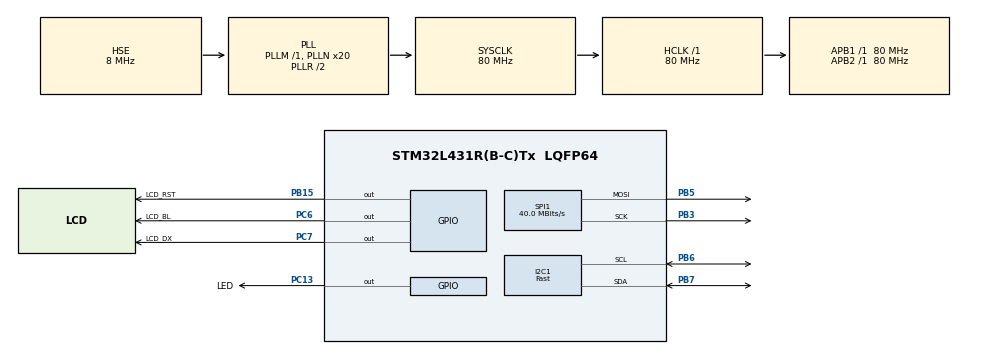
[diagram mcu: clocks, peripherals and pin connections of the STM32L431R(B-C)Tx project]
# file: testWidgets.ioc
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Dma.Request0=SPI1_TX
Dma.SPI1_TX.0.Direction=DMA_MEMORY_TO_PERIPH
Dma.SPI1_TX.0.Instance=DMA1_Channel3
Dma.SPI1_TX.0.MemDataAlignment=DMA_MDATAALIGN_BYTE
Dma.SPI1_TX.0.MemInc=DMA_MINC_ENABLE
Dma.SPI1_TX.0.Mode=DMA_NORMAL
Dma.SPI1_TX.0.PeriphDataAlignment=DMA_PDATAALIGN_BYTE
Dma.SPI1_TX.0.PeriphInc=DMA_PINC_DISABLE
Dma.SPI1_TX.0.Priority=DMA_PRIORITY_LOW
I2C1.I2C_Speed_Mode=I2C_Fast
I2C1.Timing=0x00702991
Mcu.Family=STM32L4
Mcu.Name=STM32L431R(B-C)Tx
Mcu.Package=LQFP64
NVIC.DMA1_Channel3_IRQn=true\:0\:0\:false\:false\:true\:false\:true\:true
NVIC.PriorityGroup=NVIC_PRIORITYGROUP_4
NVIC.SPI1_IRQn=true\:0\:0\:false\:false\:true\:true\:true\:true
NVIC.TIM6_DAC_IRQn=true\:1\:0\:true\:false\:true\:true\:true\:true
PA13\ (JTMS-SWDIO).Mode=Serial_Wire
PA13\ (JTMS-SWDIO).Signal=SYS_JTMS-SWDIO
PA14\ (JTCK-SWCLK).Mode=Serial_Wire
PA14\ (JTCK-SWCLK).Signal=SYS_JTCK-SWCLK
PB15.GPIO_Label=LCD_RST
PB15.GPIO_PuPd=GPIO_PULLUP
PB15.Signal=GPIO_Output
PB3\ (JTDO-TRACESWO).Mode=TX_Only_Simplex_Unidirect_Master
PB3\ (JTDO-TRACESWO).Signal=SPI1_SCK
PB5.Mode=TX_Only_Simplex_Unidirect_Master
PB5.Signal=SPI1_MOSI
PB6.Mode=I2C
PB6.Signal=I2C1_SCL
PB7.Mode=I2C
PB7.Signal=I2C1_SDA
PC13.GPIO_Label=LED
PC13.Signal=GPIO_Output
PC6.GPIO_Label=LCD_BL
PC6.GPIO_PuPd=GPIO_PULLUP
PC6.Signal=GPIO_Output
PC7.GPIO_Label=LCD_DX
PC7.GPIO_PuPd=GPIO_PULLUP
PC7.GPIO_Speed=GPIO_SPEED_FREQ_VERY_HIGH
PC7.Signal=GPIO_Output
PH0-OSC_IN\ (PH0).Mode=HSE-External-Oscillator
PH0-OSC_IN\ (PH0).Signal=RCC_OSC_IN
PH1-OSC_OUT\ (PH1).Mode=HSE-External-Oscillator
PH1-OSC_OUT\ (PH1).Signal=RCC_OSC_OUT
ProjectManager.HeapSize=0x200
ProjectManager.StackSize=0x1000
ProjectManager.TargetToolchain=MDK-ARM V5.32
RCC.ADCFreq_Value=32000000
RCC.AHBFreq_Value=80000000
RCC.APB1Freq_Value=80000000
RCC.APB1TimFreq_Value=80000000
RCC.APB2Freq_Value=80000000
RCC.APB2TimFreq_Value=80000000
RCC.CortexFreq_Value=80000000
RCC.HCLKFreq_Value=80000000
RCC.HSE_VALUE=8000000
RCC.HSI48_VALUE=48000000
RCC.HSI_VALUE=16000000
RCC.LSE_VALUE=32768
RCC.MSI_VALUE=4000000
RCC.PLLN=20
RCC.PLLSourceVirtual=RCC_PLLSOURCE_HSE
RCC.SYSCLKFreq_VALUE=80000000
RCC.SYSCLKSource=RCC_SYSCLKSOURCE_PLLCLK
RCC.VCOOutputFreq_Value=160000000
SPI1.CLKPhase=SPI_PHASE_2EDGE
SPI1.CLKPolarity=SPI_POLARITY_HIGH
SPI1.CalculateBaudRate=40.0 MBits/s
SPI1.DataSize=SPI_DATASIZE_8BIT
SPI1.Direction=SPI_DIRECTION_2LINES
SPI1.Mode=SPI_MODE_MASTER
SPI1.VirtualType=VM_MASTER
TIM6.AutoReloadPreload=TIM_AUTORELOAD_PRELOAD_ENABLE
TIM6.Period=1000-1
TIM6.Prescaler=80-1
VP_TIM6_VS_ClockSourceINT.Mode=Enable_Timer
board=custom

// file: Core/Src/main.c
/* USER CODE BEGIN Header */
/**
  ******************************************************************************
  * @file           : main.c
  * @brief          : Main program body
  ******************************************************************************
  * @attention
  *
  * Copyright (c) 2024 STMicroelectronics.
  * All rights reserved.
  *
  * This software is licensed under terms that can be found in the LICENSE file
  * in the root directory of this software component.
  * If no LICENSE file comes with this software, it is provided AS-IS.
  *
  ******************************************************************************
  */
/* USER CODE END Header */
#include "main.h"
#include "dma.h"
#include "i2c.h"
#include "spi.h"
#include "tim.h"
#include "gpio.h"

/* USER CODE BEGIN Includes */
#include "lvgl.h"
#include "lv_port_disp.h"
#include "lv_port_indev.h"
#include "gui.h"

#include "st7789.h"
#include "ns2009.h"
/* USER CODE END Includes */

/* USER CODE BEGIN PV */
uint8_t Flag_lvTimerHandler = 0;
/* USER CODE END PV */

void SystemClock_Config(void);

int main(void)
{

  /* MCU Configuration--------------------------------------------------------*/

  /* Reset of all peripherals, Initializes the Flash interface and the Systick. */
  HAL_Init();

  /* Configure the system clock */
  SystemClock_Config();

  /* Initialize all configured peripherals */
  MX_GPIO_Init();
  MX_DMA_Init();
  MX_SPI1_Init();
  MX_I2C1_Init();
  MX_TIM6_Init();
  /* USER CODE BEGIN 2 */
	HAL_Delay(50);

	bsp_ns2009_init();
	ST7789_Init();

	HAL_Delay(50);

	lv_init();
	lv_port_disp_init();
	lv_port_indev_init();

	HAL_TIM_Base_Start_IT(&htim6);

	GUI_Application();
  /* USER CODE END 2 */

  /* Infinite loop */
  /* USER CODE BEGIN WHILE */
  while (1)
  {
		if(Flag_lvTimerHandler)
		{
			Flag_lvTimerHandler = 0;
			lv_timer_handler();
		}
    /* USER CODE END WHILE */

  }
}

void SystemClock_Config(void)
{
  RCC_OscInitTypeDef RCC_OscInitStruct = {0};
  RCC_ClkInitTypeDef RCC_ClkInitStruct = {0};

  /** Configure the main internal regulator output voltage
  */
  if (HAL_PWREx_ControlVoltageScaling(PWR_REGULATOR_VOLTAGE_SCALE1) != HAL_OK)
  {
    Error_Handler();
  }

  /** Initializes the RCC Oscillators according to the specified parameters
  * in the RCC_OscInitTypeDef structure.
  */
  RCC_OscInitStruct.OscillatorType = RCC_OSCILLATORTYPE_HSE;
  RCC_OscInitStruct.HSEState = RCC_HSE_ON;
  RCC_OscInitStruct.PLL.PLLState = RCC_PLL_ON;
  RCC_OscInitStruct.PLL.PLLSource = RCC_PLLSOURCE_HSE;
  RCC_OscInitStruct.PLL.PLLM = 1;
  RCC_OscInitStruct.PLL.PLLN = 20;
  RCC_OscInitStruct.PLL.PLLP = RCC_PLLP_DIV7;
  RCC_OscInitStruct.PLL.PLLQ = RCC_PLLQ_DIV2;
  RCC_OscInitStruct.PLL.PLLR = RCC_PLLR_DIV2;
  if (HAL_RCC_OscConfig(&RCC_OscInitStruct) != HAL_OK)
  {
    Error_Handler();
  }

  /** Initializes the CPU, AHB and APB buses clocks
  */
  RCC_ClkInitStruct.ClockType = RCC_CLOCKTYPE_HCLK|RCC_CLOCKTYPE_SYSCLK
                              |RCC_CLOCKTYPE_PCLK1|RCC_CLOCKTYPE_PCLK2;
  RCC_ClkInitStruct.SYSCLKSource = RCC_SYSCLKSOURCE_PLLCLK;
  RCC_ClkInitStruct.AHBCLKDivider = RCC_SYSCLK_DIV1;
  RCC_ClkInitStruct.APB1CLKDivider = RCC_HCLK_DIV1;
  RCC_ClkInitStruct.APB2CLKDivider = RCC_HCLK_DIV1;

  if (HAL_RCC_ClockConfig(&RCC_ClkInitStruct, FLASH_LATENCY_4) != HAL_OK)
  {
    Error_Handler();
  }
}

/* USER CODE BEGIN 4 */
void HAL_TIM_PeriodElapsedCallback(TIM_HandleTypeDef *htim)
{
	static uint16_t cnt = 0;

	if(htim->Instance == TIM6){
		lv_tick_inc(1);

		if(cnt++ >= 500)
		{
			HAL_GPIO_TogglePin(LED_GPIO_Port, LED_Pin);
			cnt = 0;
		}
	}
}
/* USER CODE END 4 */

void Error_Handler(void)
{
  __disable_irq();
  while (1)
  {
  }
}
